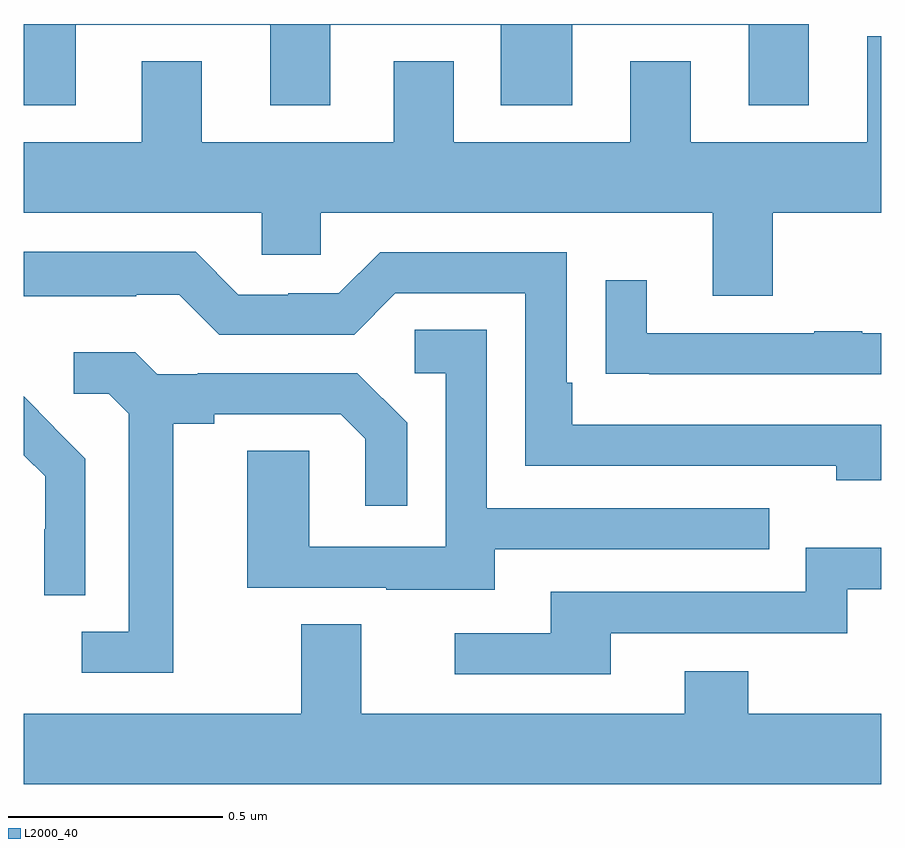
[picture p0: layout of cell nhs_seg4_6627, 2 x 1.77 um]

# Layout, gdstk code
import gdstk
lib = gdstk.Library(unit=1e-6, precision=1e-09)
def P(c, l, *ps):  # polygons
    for p in ps: c.add(gdstk.Polygon(p, *l))
L2000_40 = (2000, 40)

nhs_seg4_6627 = lib.new_cell('nhs_seg4_6627')
P(nhs_seg4_6627, L2000_40, [(192.121,823.898),(192.575,823.898),(192.575,823.71),(192.715,823.71),(192.715,823.898),(193.112,823.898),(193.112,823.71),(193.279,823.71),(193.279,823.898),(193.691,823.898),(193.691,823.71),(193.831,823.71),(193.831,823.9),(192,823.9),(192,823.71),(192.121,823.71)],
  [(193.747,823.46),(194,823.46),(194,823.872),(193.967,823.872),(193.967,823.624),(193.555,823.624),(193.555,823.813),(193.415,823.813),(193.415,823.624),(193.003,823.624),(193.003,823.813),(192.863,823.813),(192.863,823.624),(192.415,823.624),(192.415,823.813),(192.275,823.813),(192.275,823.624),(192,823.624),(192,823.46),(192.555,823.46),(192.555,823.362),(192.693,823.362),(192.693,823.46),(193.607,823.46),(193.607,823.266),(193.747,823.266)],
  [(194,822.966),(193.279,822.966),(193.279,823.063),(193.266,823.063),(193.266,823.368),(192.831,823.368),(192.735,823.272),(192.617,823.272),(192.617,823.269),(192.501,823.269),(192.401,823.369),(192,823.369),(192,823.265),(192.263,823.265),(192.263,823.269),(192.363,823.269),(192.456,823.176),(192.771,823.176),(192.867,823.272),(193.17,823.272),(193.17,822.87),(193.895,822.87),(193.895,822.836),(194,822.836)],
  [(194,823.179),(193.955,823.179),(193.955,823.184),(193.843,823.184),(193.843,823.179),(193.453,823.179),(193.453,823.303),(193.357,823.303),(193.357,823.084),(193.459,823.084),(193.459,823.083),(194,823.083)],
  [(193.099,822.675),(193.739,822.675),(193.739,822.771),(193.08,822.771),(193.08,823.187),(192.912,823.187),(192.912,823.086),(192.984,823.086),(192.984,822.681),(192.666,822.681),(192.666,822.905),(192.521,822.905),(192.521,822.585),(192.845,822.585),(192.845,822.581),(193.099,822.581)],
  [(192.349,822.968),(192.445,822.968),(192.445,822.99),(192.74,822.99),(192.797,822.933),(192.797,822.777),(192.894,822.777),(192.894,822.97),(192.778,823.086),(192.406,823.086),(192.406,823.083),(192.312,823.083),(192.26,823.135),(192.117,823.135),(192.117,823.038),(192.198,823.038),(192.245,822.991),(192.245,822.483),(192.135,822.483),(192.135,822.387),(192.349,822.387)],
  [(192.144,822.886),(192.071,822.959),(192.072,822.96),(192,823.032),(192,822.894),(192.05,822.845),(192.05,822.722),(192.048,822.722),(192.048,822.568),(192.144,822.568)],
  [(193.369,822.48),(193.92,822.48),(193.92,822.582),(194,822.582),(194,822.679),(193.824,822.679),(193.824,822.576),(193.229,822.576),(193.229,822.48),(193.005,822.48),(193.005,822.384),(193.369,822.384)],
  [(194,822.292),(193.689,822.292),(193.689,822.391),(193.541,822.391),(193.541,822.292),(192.787,822.292),(192.787,822.5),(192.647,822.5),(192.647,822.292),(192,822.292),(192,822.128),(194,822.128)])

lib.write_gds('nhs_seg4_6627.gds')
